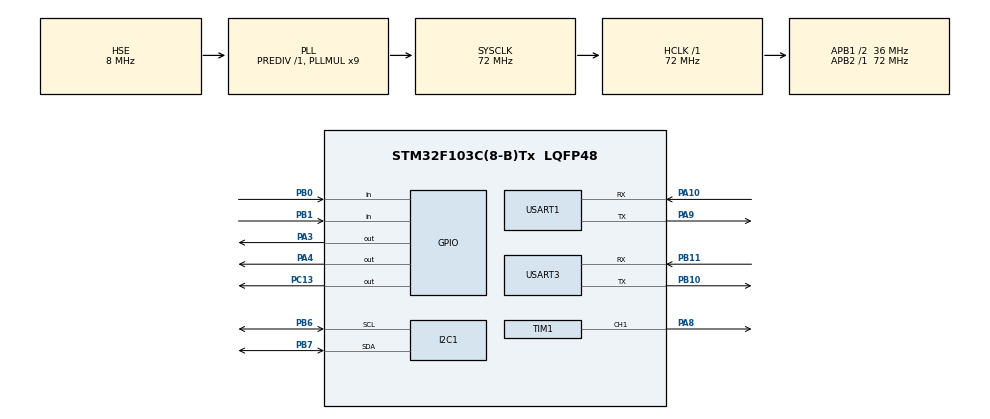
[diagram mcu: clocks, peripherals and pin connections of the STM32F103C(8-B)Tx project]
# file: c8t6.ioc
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Dma.Request0=USART1_RX
Dma.Request1=USART1_TX
Dma.Request2=USART3_RX
Dma.Request3=USART3_TX
Dma.USART1_RX.0.Direction=DMA_PERIPH_TO_MEMORY
Dma.USART1_RX.0.Instance=DMA1_Channel5
Dma.USART1_RX.0.MemDataAlignment=DMA_MDATAALIGN_BYTE
Dma.USART1_RX.0.MemInc=DMA_MINC_ENABLE
Dma.USART1_RX.0.Mode=DMA_NORMAL
Dma.USART1_RX.0.PeriphDataAlignment=DMA_PDATAALIGN_BYTE
Dma.USART1_RX.0.PeriphInc=DMA_PINC_DISABLE
Dma.USART1_RX.0.Priority=DMA_PRIORITY_LOW
Dma.USART1_TX.1.Direction=DMA_MEMORY_TO_PERIPH
Dma.USART1_TX.1.Instance=DMA1_Channel4
Dma.USART1_TX.1.MemDataAlignment=DMA_MDATAALIGN_BYTE
Dma.USART1_TX.1.MemInc=DMA_MINC_ENABLE
Dma.USART1_TX.1.Mode=DMA_NORMAL
Dma.USART1_TX.1.PeriphDataAlignment=DMA_PDATAALIGN_BYTE
Dma.USART1_TX.1.PeriphInc=DMA_PINC_DISABLE
Dma.USART1_TX.1.Priority=DMA_PRIORITY_LOW
Dma.USART3_RX.2.Direction=DMA_PERIPH_TO_MEMORY
Dma.USART3_RX.2.Instance=DMA1_Channel3
Dma.USART3_RX.2.MemDataAlignment=DMA_MDATAALIGN_BYTE
Dma.USART3_RX.2.MemInc=DMA_MINC_ENABLE
Dma.USART3_RX.2.Mode=DMA_NORMAL
Dma.USART3_RX.2.PeriphDataAlignment=DMA_PDATAALIGN_BYTE
Dma.USART3_RX.2.PeriphInc=DMA_PINC_DISABLE
Dma.USART3_RX.2.Priority=DMA_PRIORITY_LOW
Dma.USART3_TX.3.Direction=DMA_MEMORY_TO_PERIPH
Dma.USART3_TX.3.Instance=DMA1_Channel2
Dma.USART3_TX.3.MemDataAlignment=DMA_MDATAALIGN_BYTE
Dma.USART3_TX.3.MemInc=DMA_MINC_ENABLE
Dma.USART3_TX.3.Mode=DMA_NORMAL
Dma.USART3_TX.3.PeriphDataAlignment=DMA_PDATAALIGN_BYTE
Dma.USART3_TX.3.PeriphInc=DMA_PINC_DISABLE
Dma.USART3_TX.3.Priority=DMA_PRIORITY_LOW
Mcu.Family=STM32F1
Mcu.Name=STM32F103C(8-B)Tx
Mcu.Package=LQFP48
NVIC.DMA1_Channel2_IRQn=true\:0\:0\:false\:false\:true\:false\:true\:true
NVIC.DMA1_Channel3_IRQn=true\:0\:0\:false\:false\:true\:false\:true\:true
NVIC.DMA1_Channel4_IRQn=true\:0\:0\:false\:false\:true\:false\:true\:true
NVIC.DMA1_Channel5_IRQn=true\:0\:0\:false\:false\:true\:false\:true\:true
NVIC.PriorityGroup=NVIC_PRIORITYGROUP_4
NVIC.TIM1_BRK_IRQn=true\:0\:0\:false\:false\:true\:true\:true\:true
NVIC.TIM1_CC_IRQn=true\:0\:0\:false\:false\:true\:true\:true\:true
NVIC.TIM1_TRG_COM_IRQn=true\:0\:0\:false\:false\:true\:true\:true\:true
NVIC.TIM1_UP_IRQn=true\:0\:0\:false\:false\:true\:true\:true\:true
NVIC.TIM2_IRQn=true\:0\:0\:false\:false\:true\:true\:true\:true
NVIC.TIM3_IRQn=true\:0\:0\:false\:false\:true\:true\:true\:true
NVIC.USART1_IRQn=true\:0\:0\:false\:false\:true\:true\:true\:true
NVIC.USART3_IRQn=true\:0\:0\:false\:false\:true\:true\:true\:true
PA10.Mode=Asynchronous
PA10.Signal=USART1_RX
PA13.Mode=Serial_Wire
PA13.Signal=SYS_JTMS-SWDIO
PA14.Mode=Serial_Wire
PA14.Signal=SYS_JTCK-SWCLK
PA3.Signal=GPIO_Output
PA4.Signal=GPIO_Output
PA8.Signal=S_TIM1_CH1
PA9.Mode=Asynchronous
PA9.Signal=USART1_TX
PB0.Signal=GPIO_Input
PB1.Signal=GPIO_Input
PB10.Mode=Asynchronous
PB10.Signal=USART3_TX
PB11.Mode=Asynchronous
PB11.Signal=USART3_RX
PB6.Mode=I2C
PB6.Signal=I2C1_SCL
PB7.Mode=I2C
PB7.Signal=I2C1_SDA
PC13-TAMPER-RTC.Signal=GPIO_Output
PD0-OSC_IN.Mode=HSE-External-Oscillator
PD0-OSC_IN.Signal=RCC_OSC_IN
PD1-OSC_OUT.Mode=HSE-External-Oscillator
PD1-OSC_OUT.Signal=RCC_OSC_OUT
ProjectManager.HeapSize=0x200
ProjectManager.StackSize=0x400
ProjectManager.TargetToolchain=MDK-ARM V5.32
RCC.AHBFreq_Value=72000000
RCC.APB1CLKDivider=RCC_HCLK_DIV2
RCC.APB1Freq_Value=36000000
RCC.APB1TimFreq_Value=72000000
RCC.APB2Freq_Value=72000000
RCC.APB2TimFreq_Value=72000000
RCC.HCLKFreq_Value=72000000
RCC.PLLMUL=RCC_PLL_MUL9
RCC.PLLSourceVirtual=RCC_PLLSOURCE_HSE
RCC.SYSCLKFreq_VALUE=72000000
RCC.SYSCLKSource=RCC_SYSCLKSOURCE_PLLCLK
RCC.USBFreq_Value=72000000
SH.S_TIM1_CH1.0=TIM1_CH1,PWM Generation1 CH1
TIM1.AutoReloadPreload=TIM_AUTORELOAD_PRELOAD_ENABLE
TIM1.Channel-PWM\ Generation1\ CH1=TIM_CHANNEL_1
TIM1.Prescaler=71
TIM2.Prescaler=71
TIM3.Prescaler=71
USART1.VirtualMode=VM_ASYNC
USART3.VirtualMode=VM_ASYNC
VP_TIM1_VS_ClockSourceINT.Mode=Internal
VP_TIM2_VS_ClockSourceINT.Mode=Internal
VP_TIM3_VS_ClockSourceINT.Mode=Internal
board=custom

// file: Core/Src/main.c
/* USER CODE BEGIN Header */
/**
  ******************************************************************************
  * @file           : main.c
  * @brief          : Main program body
  ******************************************************************************
  * @attention
  *
  * Copyright (c) 2024 STMicroelectronics.
  * All rights reserved.
  *
  * This software is licensed under terms that can be found in the LICENSE file
  * in the root directory of this software component.
  * If no LICENSE file comes with this software, it is provided AS-IS.
  *
  ******************************************************************************
  */
/* USER CODE END Header */
#include "main.h"
#include "dma.h"
#include "i2c.h"
#include "tim.h"
#include "usart.h"
#include "gpio.h"

/* USER CODE BEGIN Includes */
#include "UART_DMA.h"
#include "esp8266.h"
#include "bsp_ds18b20.h"
#include "oled.h"
/* USER CODE END Includes */

/* USER CODE BEGIN PD */
uint8_t uart3_RX_Buffer[r3_length]={0};
uint8_t  UART3_temp[REC_LENGTH] = {0};
unsigned int  UART3_Rx_cnt;
int temp,temp_set;
int flag_ds;
float m_water=0.15;

/* USER CODE END PD */

void SystemClock_Config(void);

int main(void)
 {

  /* MCU Configuration--------------------------------------------------------*/

  /* Reset of all peripherals, Initializes the Flash interface and the Systick. */
  HAL_Init();

  /* Configure the system clock */
  SystemClock_Config();

  /* Initialize all configured peripherals */
  MX_GPIO_Init();
  MX_DMA_Init();
  MX_USART1_UART_Init();
  MX_USART3_UART_Init();
  MX_TIM1_Init();
  MX_TIM2_Init();
  MX_TIM3_Init();
  MX_I2C1_Init();
  /* USER CODE BEGIN 2 */
	  HAL_TIM_Base_Start(&htim2);
	  HAL_TIM_Base_Start(&htim3);
		HAL_TIM_Base_Start(&htim1);

		HAL_TIM_PWM_Start(&htim1, TIM_CHANNEL_1);

__HAL_UART_ENABLE_IT(&huart3,UART_IT_RXNE);

HAL_UART_Receive_IT(&huart3,(uint8_t *)UART3_temp,REC_LENGTH);

Ds18b20_Init();

StartUartRxDMA();
  OLED_Init();

USB_DMA_printf("AT+RST\r\n");
HAL_Delay(100);
//uart3_printf("666");
//esp_init();
esp_wifi_connect();
HAL_Delay(100);
esp_mqtt_connect();
  /* USER CODE END 2 */

  /* Infinite loop */
  while (1)
  {

  }
}

void SystemClock_Config(void)
{
  RCC_OscInitTypeDef RCC_OscInitStruct = {0};
  RCC_ClkInitTypeDef RCC_ClkInitStruct = {0};

  /** Initializes the RCC Oscillators according to the specified parameters
  * in the RCC_OscInitTypeDef structure.
  */
  RCC_OscInitStruct.OscillatorType = RCC_OSCILLATORTYPE_HSE;
  RCC_OscInitStruct.HSEState = RCC_HSE_ON;
  RCC_OscInitStruct.HSEPredivValue = RCC_HSE_PREDIV_DIV1;
  RCC_OscInitStruct.HSIState = RCC_HSI_ON;
  RCC_OscInitStruct.PLL.PLLState = RCC_PLL_ON;
  RCC_OscInitStruct.PLL.PLLSource = RCC_PLLSOURCE_HSE;
  RCC_OscInitStruct.PLL.PLLMUL = RCC_PLL_MUL9;
  if (HAL_RCC_OscConfig(&RCC_OscInitStruct) != HAL_OK)
  {
    Error_Handler();
  }

  /** Initializes the CPU, AHB and APB buses clocks
  */
  RCC_ClkInitStruct.ClockType = RCC_CLOCKTYPE_HCLK|RCC_CLOCKTYPE_SYSCLK
                              |RCC_CLOCKTYPE_PCLK1|RCC_CLOCKTYPE_PCLK2;
  RCC_ClkInitStruct.SYSCLKSource = RCC_SYSCLKSOURCE_PLLCLK;
  RCC_ClkInitStruct.AHBCLKDivider = RCC_SYSCLK_DIV1;
  RCC_ClkInitStruct.APB1CLKDivider = RCC_HCLK_DIV2;
  RCC_ClkInitStruct.APB2CLKDivider = RCC_HCLK_DIV1;

  if (HAL_RCC_ClockConfig(&RCC_ClkInitStruct, FLASH_LATENCY_2) != HAL_OK)
  {
    Error_Handler();
  }
}

void Error_Handler(void)
{
  __disable_irq();
  while (1)
  {
  }
}
